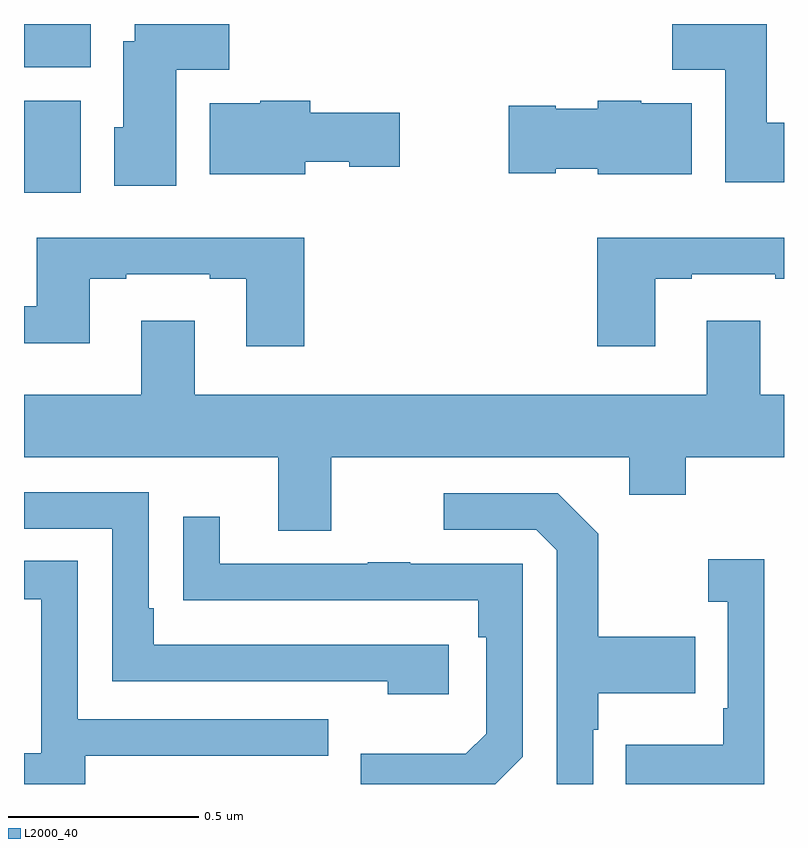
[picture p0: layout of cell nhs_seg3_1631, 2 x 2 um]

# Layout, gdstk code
import gdstk
lib = gdstk.Library(unit=1e-6, precision=1e-09)
def R(c, l, rs):  # rectangles x0, y0, x1, y1
    for r in rs: c.add(gdstk.rectangle(r[:2], r[2:], *l))
def P(c, l, *ps):  # polygons
    for p in ps: c.add(gdstk.Polygon(p, *l))
L2000_40 = (2000, 40)

nhs_seg3_1631 = lib.new_cell('nhs_seg3_1631')
R(nhs_seg3_1631, L2000_40, [(131,690.956,131.149,691.198), (131,691.286,131.176,691.4)])
P(nhs_seg3_1631, L2000_40, [(133,691.14),(132.955,691.14),(132.955,691.399),(132.706,691.399),(132.706,691.28),(132.845,691.28),(132.845,690.984),(133,690.984)],
  [(131.401,691.28),(131.54,691.28),(131.54,691.399),(131.291,691.399),(131.291,691.354),(131.261,691.354),(131.261,691.128),(131.237,691.128),(131.237,690.974),(131.401,690.974)],
  [(131.74,691.037),(131.856,691.037),(131.856,691.025),(131.989,691.025),(131.989,691.167),(131.753,691.167),(131.753,691.198),(131.622,691.198),(131.622,691.192),(131.489,691.192),(131.489,691.004),(131.74,691.004)],
  [(132.757,691.192),(132.624,691.192),(132.624,691.198),(132.51,691.198),(132.51,691.177),(132.399,691.177),(132.399,691.185),(132.276,691.185),(132.276,691.007),(132.399,691.007),(132.399,691.019),(132.51,691.019),(132.51,691.004),(132.757,691.004)],
  [(131.738,690.838),(131.033,690.838),(131.033,690.657),(131,690.657),(131,690.56),(131.173,690.56),(131.173,690.729),(131.269,690.729),(131.269,690.741),(131.489,690.741),(131.489,690.729),(131.585,690.729),(131.585,690.552),(131.738,690.552)],
  [(132.661,690.729),(132.757,690.729),(132.757,690.741),(132.977,690.741),(132.977,690.729),(133,690.729),(133,690.838),(132.509,690.838),(132.509,690.552),(132.661,690.552)],
  [(131.809,690.26),(132.593,690.26),(132.593,690.161),(132.741,690.161),(132.741,690.26),(133,690.26),(133,690.424),(132.937,690.424),(132.937,690.619),(132.797,690.619),(132.797,690.424),(131.449,690.424),(131.449,690.619),(131.309,690.619),(131.309,690.424),(131,690.424),(131,690.26),(131.669,690.26),(131.669,690.066),(131.809,690.066)],
  [(132.118,689.766),(131.341,689.766),(131.341,689.863),(131.328,689.863),(131.328,690.168),(131,690.168),(131,690.072),(131.232,690.072),(131.232,689.67),(131.957,689.67),(131.957,689.636),(132.118,689.636)],
  [(132.498,689.543),(132.511,689.543),(132.511,689.639),(132.767,689.639),(132.767,689.787),(132.511,689.787),(132.511,690.059),(132.405,690.165),(132.105,690.165),(132.105,690.069),(132.348,690.069),(132.402,690.015),(132.402,689.4),(132.498,689.4)],
  [(132.312,689.472),(132.312,689.979),(132.017,689.979),(132.017,689.984),(131.905,689.984),(131.905,689.979),(131.515,689.979),(131.515,690.103),(131.419,690.103),(131.419,689.884),(131.521,689.884),(131.521,689.883),(132.196,689.883),(132.196,689.786),(132.216,689.786),(132.216,689.532),(132.163,689.479),(131.886,689.479),(131.886,689.4),(132.24,689.4)],
  [(132.948,689.992),(132.801,689.992),(132.801,689.879),(132.852,689.879),(132.852,689.599),(132.84,689.599),(132.84,689.503),(132.583,689.503),(132.583,689.4),(132.948,689.4)],
  [(131.161,689.475),(131.801,689.475),(131.801,689.571),(131.142,689.571),(131.142,689.987),(131,689.987),(131,689.886),(131.046,689.886),(131.046,689.481),(131,689.481),(131,689.4),(131.161,689.4)])

lib.write_gds('nhs_seg3_1631.gds')
